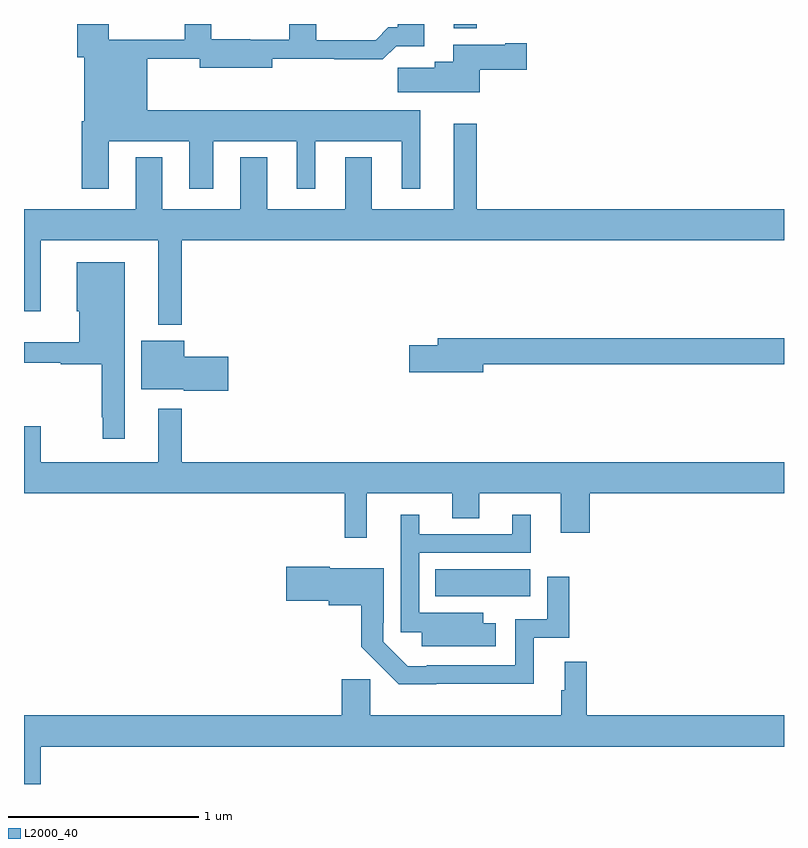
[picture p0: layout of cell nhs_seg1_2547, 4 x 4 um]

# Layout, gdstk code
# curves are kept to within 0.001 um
import gdstk
lib = gdstk.Library(unit=1e-6, precision=1e-09)
def R(c, l, rs):  # rectangles x0, y0, x1, y1
    for r in rs: c.add(gdstk.rectangle(r[:2], r[2:], *l))
def P(c, l, *ps):  # polygons
    for p in ps: c.add(gdstk.Polygon(p, *l))
L2000_40 = (2000, 40)

nhs_seg1_2547 = lib.new_cell('nhs_seg1_2547')
R(nhs_seg1_2547, L2000_40, [(251.164,555.188,251.665,555.328), (251.261,558.176,251.383,558.199)])
P(nhs_seg1_2547, L2000_40, [(249.445,557.582),(249.869,557.582),(249.869,557.331),(249.997,557.331),(249.997,557.582),(250.436,557.582),(250.436,557.331),(250.534,557.331),(250.534,557.582),(250.988,557.582),(250.988,557.331),(251.086,557.331),(251.086,557.746),(249.649,557.746),(249.649,558.016),(249.926,558.016),(249.926,557.969),(250.306,557.969),(250.306,558.016),(250.633,558.016),(250.633,558.014),(250.889,558.014),(250.958,558.083),(251.107,558.083),(251.107,558.199),(250.967,558.199),(250.967,558.181),(250.918,558.181),(250.851,558.114),(250.537,558.114),(250.537,558.199),(250.397,558.199),(250.397,558.117),(249.985,558.118),(249.985,558.199),(249.845,558.199),(249.845,558.117),(249.445,558.117),(249.445,558.199),(249.281,558.199),(249.281,558.024),(249.317,558.024),(249.317,557.686),(249.305,557.686),(249.305,557.331),(249.445,557.331)],
  [(251.398,557.957),(251.647,557.957),(251.647,558.099),(251.534,558.099),(251.534,558.091),(251.258,558.091),(251.258,558.001),(251.162,558.001),(251.162,557.969),(250.968,557.969),(250.968,557.84),(251.398,557.84)],
  [(249.829,557.06),(253,557.06),(253,557.224),(251.383,557.224),(251.383,557.674),(251.261,557.674),(251.261,557.224),(250.831,557.224),(250.831,557.497),(250.691,557.497),(250.691,557.224),(250.279,557.224),(250.279,557.497),(250.139,557.497),(250.139,557.224),(249.727,557.224),(249.727,557.497),(249.587,557.497),(249.587,557.224),(249,557.224),(249,556.686),(249.088,556.686),(249.088,557.06),(249.707,557.06),(249.707,556.616),(249.829,556.616)],
  [(249.529,556.945),(249.278,556.945),(249.278,556.686),(249.29,556.686),(249.29,556.525),(249,556.525),(249,556.416),(249.194,556.416),(249.194,556.408),(249.408,556.408),(249.408,556.129),(249.415,556.129),(249.415,556.017),(249.529,556.017)],
  [(251.416,556.408),(253,556.408),(253,556.544),(251.177,556.544),(251.177,556.508),(251.028,556.508),(251.028,556.366),(251.416,556.366)],
  [(250.075,556.448),(249.844,556.448),(249.844,556.531),(249.617,556.531),(249.617,556.277),(249.84,556.277),(249.84,556.27),(250.075,556.27)],
  [(250.805,555.728),(251.255,555.728),(251.255,555.598),(251.395,555.598),(251.395,555.728),(251.825,555.728),(251.825,555.522),(251.978,555.522),(251.978,555.728),(253,555.728),(253,555.892),(249.829,555.892),(249.829,556.174),(249.707,556.174),(249.707,555.892),(249.088,555.892),(249.088,556.081),(249,556.081),(249,555.728),(250.687,555.728),(250.687,555.495),(250.805,555.495)],
  [(251.482,555.046),(251.416,555.046),(251.416,555.1),(251.079,555.1),(251.079,555.417),(251.668,555.417),(251.668,555.616),(251.57,555.616),(251.57,555.513),(251.08,555.513),(251.08,555.616),(250.983,555.616),(250.983,554.997),(251.093,554.997),(251.093,554.924),(251.482,554.924)],
  [(251.171,554.726),(251.683,554.726),(251.683,554.97),(251.87,554.97),(251.87,555.289),(251.754,555.289),(251.754,555.066),(251.586,555.066),(251.586,554.823),(251.119,554.823),(251.119,554.82),(251.019,554.82),(250.89,554.949),(250.89,555.049),(250.893,555.049),(250.893,555.334),(250.608,555.334),(250.608,555.342),(250.38,555.342),(250.38,555.164),(250.604,555.164),(250.604,555.14),(250.775,555.14),(250.775,554.921),(250.972,554.724),(251.171,554.724)],
  [(249.088,554.396),(253,554.396),(253,554.56),(251.963,554.56),(251.963,554.842),(251.846,554.842),(251.846,554.693),(251.827,554.693),(251.827,554.56),(250.823,554.56),(250.823,554.751),(250.673,554.751),(250.673,554.56),(249,554.56),(249,554.199),(249.088,554.199)])

lib.write_gds('nhs_seg1_2547.gds')
